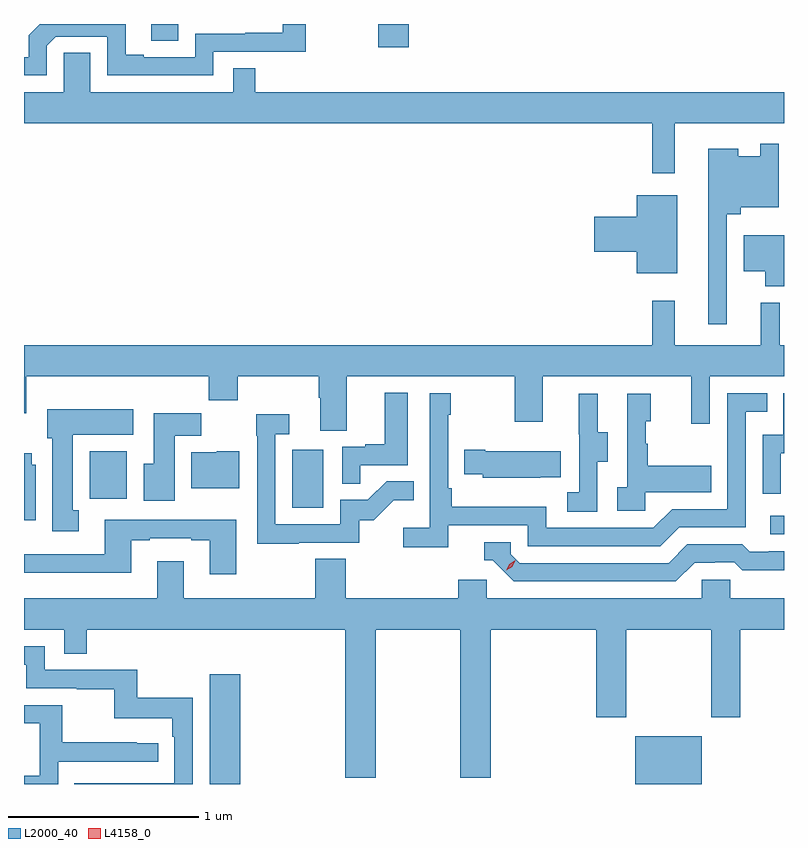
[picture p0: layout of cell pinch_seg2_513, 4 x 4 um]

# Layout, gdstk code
import gdstk
lib = gdstk.Library(unit=1e-6, precision=1e-09)
def R(c, l, rs):  # rectangles x0, y0, x1, y1
    for r in rs: c.add(gdstk.rectangle(r[:2], r[2:], *l))
def P(c, l, *ps):  # polygons
    for p in ps: c.add(gdstk.Polygon(p, *l))
L2000_40 = (2000, 40)
L4158_0 = (4158, 0)

pinch_seg2_513 = lib.new_cell('pinch_seg2_513')
R(pinch_seg2_513, L2000_40, [(988.949,590.879,989.11,591.457), (991.19,590.879,991.54,591.13), (991.899,592.194,991.972,592.29), (989.384,592.332,989.548,592.639), (988.317,592.38,988.513,592.63), (989.837,594.756,989.998,594.879), (988.643,594.79,988.783,594.879)])
P(pinch_seg2_513, L2000_40, [(988.092,594.765),(988.14,594.813),(988.41,594.813),(988.41,594.609),(988.968,594.609),(988.968,594.732),(989.455,594.732),(989.455,594.879),(989.334,594.879),(989.334,594.833),(989.137,594.833),(989.137,594.828),(988.872,594.828),(988.872,594.705),(988.603,594.705),(988.603,594.718),(988.507,594.718),(988.507,594.879),(988.056,594.879),(987.996,594.819),(987.996,594.705),(987.972,594.705),(987.972,594.609),(988.092,594.609)],
  [(991.396,594.356),(991.972,594.356),(991.972,594.52),(989.189,594.52),(989.189,594.647),(989.073,594.647),(989.073,594.52),(988.321,594.52),(988.321,594.728),(988.182,594.728),(988.182,594.52),(987.972,594.52),(987.972,594.356),(991.279,594.356),(991.279,594.093),(991.396,594.093)],
  [(991.671,593.879),(991.745,593.879),(991.745,593.915),(991.944,593.915),(991.944,594.25),(991.848,594.25),(991.848,594.184),(991.732,594.184),(991.732,594.223),(991.574,594.223),(991.574,593.298),(991.671,593.298)],
  [(991.411,593.977),(991.196,593.977),(991.196,593.864),(990.972,593.864),(990.972,593.681),(991.196,593.681),(991.196,593.567),(991.411,593.567)],
  [(991.972,593.767),(991.76,593.767),(991.76,593.579),(991.874,593.579),(991.874,593.498),(991.972,593.498)],
  [(989.671,593.024),(990.556,593.024),(990.556,592.785),(990.703,592.785),(990.703,593.024),(991.484,593.024),(991.484,592.776),(991.581,592.776),(991.581,593.024),(991.972,593.024),(991.972,593.188),(991.95,593.188),(991.95,593.413),(991.85,593.413),(991.85,593.188),(991.397,593.188),(991.397,593.422),(991.279,593.422),(991.279,593.188),(987.972,593.188),(987.972,592.83),(987.985,592.83),(987.985,593.024),(988.945,593.024),(988.945,592.9),(989.097,592.9),(989.097,593.024),(989.524,593.024),(989.524,592.912),(989.531,592.912),(989.531,592.738),(989.671,592.738)],
  [(989.741,592.557),(989.992,592.557),(989.992,592.939),(989.87,592.939),(989.87,592.666),(989.767,592.666),(989.767,592.653),(989.646,592.653),(989.646,592.459),(989.741,592.459)],
  [(990.206,592.242),(990.624,592.242),(990.624,592.131),(991.321,592.131),(991.42,592.23),(991.77,592.23),(991.77,592.839),(991.883,592.839),(991.883,592.935),(991.674,592.935),(991.674,592.326),(991.383,592.326),(991.284,592.227),(990.72,592.227),(990.72,592.339),(990.224,592.339),(990.224,592.435),(990.204,592.435),(990.204,592.823),(990.217,592.823),(990.217,592.936),(990.108,592.936),(990.108,592.228),(989.967,592.228),(989.967,592.126),(990.206,592.126)],
  [(991.956,592.619),(991.972,592.619),(991.972,592.935),(991.968,592.935),(991.968,592.716),(991.86,592.716),(991.86,592.407),(991.956,592.407)],
  [(991.242,592.415),(991.589,592.415),(991.589,592.555),(991.255,592.555),(991.255,592.67),(991.245,592.67),(991.245,592.788),(991.27,592.788),(991.27,592.933),(991.146,592.933),(991.146,592.442),(991.095,592.442),(991.095,592.317),(991.242,592.317)],
  [(990.99,592.576),(991.045,592.576),(991.045,592.731),(990.991,592.731),(990.991,592.933),(990.893,592.933),(990.893,592.719),(990.894,592.719),(990.894,592.415),(990.831,592.415),(990.831,592.312),(990.99,592.312)],
  [(988.261,592.321),(988.228,592.321),(988.228,592.718),(988.546,592.718),(988.546,592.852),(988.094,592.852),(988.094,592.698),(988.121,592.698),(988.121,592.209),(988.261,592.209)],
  [(988.765,592.712),(988.904,592.712),(988.904,592.831),(988.655,592.831),(988.655,592.564),(988.601,592.564),(988.601,592.371),(988.765,592.371)],
  [(989.417,592.149),(989.736,592.149),(989.736,592.266),(989.812,592.266),(989.919,592.373),(990.023,592.373),(990.023,592.472),(989.88,592.472),(989.782,592.374),(989.637,592.374),(989.637,592.245),(989.295,592.245),(989.295,592.719),(989.368,592.719),(989.368,592.825),(989.194,592.825),(989.194,592.712),(989.199,592.712),(989.199,592.144),(989.417,592.144)],
  [(990.689,592.493),(990.797,592.493),(990.797,592.63),(990.4,592.63),(990.4,592.638),(990.289,592.638),(990.289,592.508),(990.387,592.508),(990.387,592.49),(990.689,592.49)],
  [(989.104,592.63),(988.986,592.63),(988.986,592.624),(988.853,592.624),(988.853,592.436),(989.104,592.436)],
  [(988.033,592.56),(988.012,592.56),(988.012,592.621),(987.972,592.621),(987.972,592.268),(988.033,592.268)],
  [(989.089,592.27),(988.861,592.27),(988.861,592.269),(988.397,592.269),(988.397,592.089),(987.972,592.089),(987.972,591.992),(988.537,591.992),(988.537,592.161),(988.633,592.161),(988.633,592.173),(988.853,592.173),(988.853,592.161),(988.949,592.161),(988.949,591.984),(989.089,591.984)],
  [(991.501,592.044),(991.608,592.044),(991.608,592.047),(991.711,592.047),(991.753,592.005),(991.972,592.005),(991.972,592.104),(991.891,592.104),(991.891,592.101),(991.792,592.101),(991.753,592.14),(991.464,592.14),(991.365,592.041),(990.582,592.041),(990.534,592.089),(990.534,592.152),(990.395,592.152),(990.395,592.056),(990.438,592.056),(990.549,591.945),(991.402,591.945)],
  [(989.663,590.913),(989.823,590.913),(989.823,591.692),(990.268,591.692),(990.268,590.913),(990.428,590.913),(990.428,591.692),(990.983,591.692),(990.983,591.231),(991.143,591.231),(991.143,591.692),(991.588,591.692),(991.588,591.231),(991.743,591.231),(991.743,591.692),(991.972,591.692),(991.972,591.856),(991.689,591.856),(991.689,591.954),(991.539,591.954),(991.539,591.856),(990.408,591.856),(990.408,591.954),(990.257,591.954),(990.257,591.856),(989.666,591.856),(989.666,592.064),(989.506,592.064),(989.506,591.856),(988.813,591.856),(988.813,592.051),(988.673,592.051),(988.673,591.856),(987.972,591.856),(987.972,591.692),(988.185,591.692),(988.185,591.565),(988.301,591.565),(988.301,591.692),(989.663,591.692)],
  [(988.86,591.334),(988.567,591.334),(988.567,591.48),(988.08,591.48),(988.08,591.603),(987.972,591.603),(987.972,591.507),(987.984,591.507),(987.984,591.384),(988.249,591.384),(988.249,591.379),(988.446,591.379),(988.446,591.224),(988.751,591.224),(988.751,591.128),(988.764,591.128),(988.764,590.883),(988.451,590.883),(988.451,590.884),(988.237,590.884),(988.237,590.879),(988.86,590.879)],
  [(988.152,590.997),(988.678,590.997),(988.678,591.093),(988.565,591.093),(988.565,591.098),(988.172,591.098),(988.172,591.294),(987.972,591.294),(987.972,591.198),(988.056,591.198),(988.056,590.922),(987.972,590.922),(987.972,590.879),(988.152,590.879)])
P(pinch_seg2_513, L4158_0, [(990.511,592.003),(990.511,592.004),(990.527,592.036),(990.557,592.056),(990.557,592.056),(990.557,592.055),(990.541,592.023),(990.511,592.003)])

lib.write_gds('pinch_seg2_513.gds')
